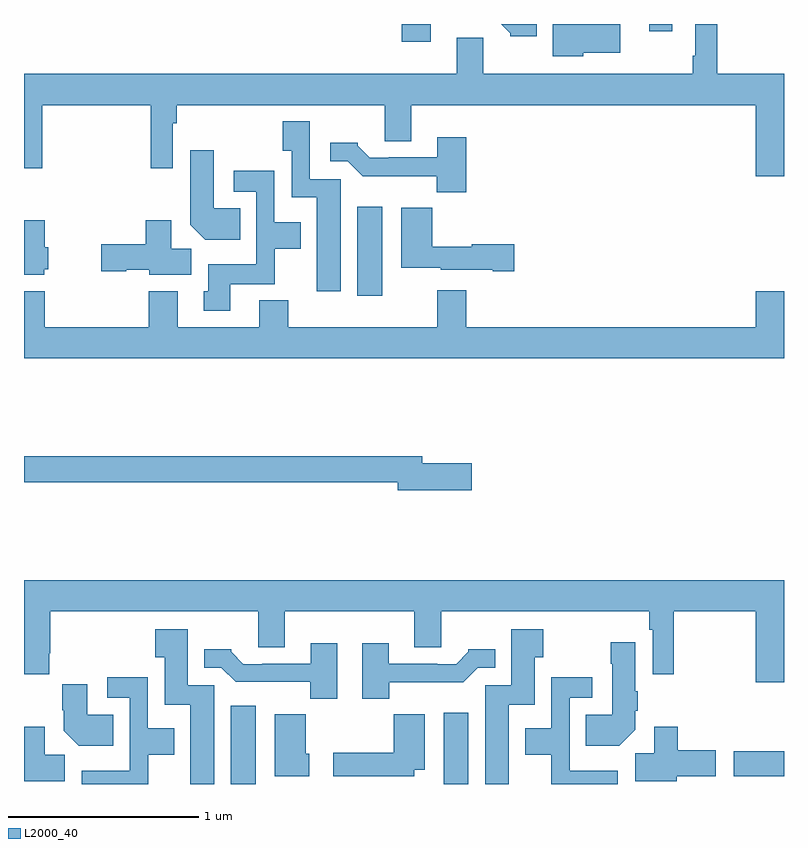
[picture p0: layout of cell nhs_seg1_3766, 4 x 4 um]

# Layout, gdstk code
import gdstk
lib = gdstk.Library(unit=1e-6, precision=1e-09)
def R(c, l, rs):  # rectangles x0, y0, x1, y1
    for r in rs: c.add(gdstk.rectangle(r[:2], r[2:], *l))
def P(c, l, *ps):  # polygons
    for p in ps: c.add(gdstk.Polygon(p, *l))
L2000_40 = (2000, 40)

nhs_seg1_3766 = lib.new_cell('nhs_seg1_3766')
R(nhs_seg1_3766, L2000_40, [(318.089,508.199,318.22,508.612), (319.208,508.199,319.339,508.573), (320.736,508.241,321,508.371), (318.755,510.768,318.886,511.237), (318.989,512.106,319.141,512.199), (320.291,512.16,320.413,512.199)])
P(nhs_seg1_3766, L2000_40, [(319.944,512.048),(320.137,512.048),(320.137,512.199),(319.784,512.199),(319.784,512.03),(319.944,512.03)],
  [(321,511.936),(320.648,511.936),(320.648,512.199),(320.532,512.199),(320.532,512.032),(320.52,512.032),(320.52,511.936),(319.417,511.936),(319.417,512.126),(319.277,512.126),(319.277,511.936),(317,511.936),(317,511.44),(317.096,511.44),(317.096,511.772),(317.668,511.772),(317.668,511.44),(317.784,511.44),(317.784,511.676),(317.804,511.676),(317.804,511.772),(318.899,511.772),(318.899,511.582),(319.039,511.582),(319.039,511.772),(320.852,511.772),(320.852,511.398),(321,511.398)],
  [(319.699,512.199),(319.511,512.199),(319.56,512.15),(319.56,512.135),(319.699,512.135)],
  [(318.667,511.383),(318.504,511.383),(318.504,511.687),(318.361,511.687),(318.361,511.531),(318.408,511.531),(318.408,511.286),(318.542,511.286),(318.542,510.792),(318.667,510.792)],
  [(319.328,511.603),(319.175,511.603),(319.175,511.497),(318.919,511.497),(318.919,511.494),(318.82,511.494),(318.756,511.558),(318.756,511.573),(318.612,511.573),(318.612,511.476),(318.705,511.476),(318.784,511.398),(319.173,511.398),(319.173,511.313),(319.328,511.313)],
  [(318.137,511.228),(317.998,511.228),(317.998,511.534),(317.876,511.534),(317.876,511.142),(317.954,511.064),(318.137,511.064)],
  [(318.085,510.83),(318.321,510.83),(318.321,511.016),(318.457,511.016),(318.457,511.156),(318.318,511.156),(318.318,511.426),(318.105,511.426),(318.105,511.317),(318.222,511.317),(318.222,510.934),(317.969,510.934),(317.969,510.792),(317.945,510.792),(317.945,510.69),(318.085,510.69)],
  [(319.579,511.04),(319.356,511.04),(319.356,511.027),(319.148,511.027),(319.148,511.231),(318.986,511.231),(318.986,510.917),(319.194,510.917),(319.194,510.905),(319.466,510.905),(319.466,510.898),(319.579,510.898)],
  [(317.106,510.909),(317.128,510.909),(317.128,511.023),(317.11,511.023),(317.11,511.165),(317,511.165),(317,510.878),(317.106,510.878)],
  [(317.881,511.016),(317.776,511.016),(317.776,511.165),(317.642,511.165),(317.642,511.04),(317.406,511.04),(317.406,510.898),(317.538,510.898),(317.538,510.905),(317.658,510.905),(317.658,510.878),(317.881,510.878)],
  [(317.657,510.793),(317.657,510.604),(317.108,510.604),(317.108,510.793),(317,510.793),(317,510.44),(321,510.44),(321,510.793),(320.852,510.793),(320.852,510.604),(319.328,510.604),(319.328,510.799),(319.175,510.799),(319.175,510.604),(318.392,510.604),(318.392,510.745),(318.239,510.745),(318.239,510.604),(317.809,510.604),(317.809,510.793)],
  [(319.357,509.888),(319.096,509.888),(319.096,509.924),(317,509.924),(317,509.788),(318.968,509.788),(318.968,509.746),(319.357,509.746)],
  [(321,509.272),(317,509.272),(317,509.108),(317.002,509.108),(317.002,508.776),(317.134,508.776),(317.134,508.888),(317.138,508.888),(317.138,509.108),(318.233,509.108),(318.233,508.918),(318.373,508.918),(318.373,509.108),(319.055,509.108),(319.055,508.918),(319.195,508.918),(319.195,509.108),(320.29,509.108),(320.29,509.012),(320.31,509.012),(320.31,508.776),(320.419,508.776),(320.419,509.108),(320.852,509.108),(320.852,508.734),(321,508.734)],
  [(319.552,508.616),(319.687,508.616),(319.687,508.867),(319.734,508.867),(319.734,509.014),(319.565,509.014),(319.565,508.719),(319.427,508.719),(319.427,508.199),(319.552,508.199)],
  [(318.001,508.719),(317.863,508.719),(317.863,509.014),(317.69,509.014),(317.69,508.867),(317.741,508.867),(317.741,508.616),(317.876,508.616),(317.876,508.199),(318.001,508.199)],
  [(320.218,508.484),(320.218,508.585),(320.231,508.585),(320.231,508.688),(320.218,508.688),(320.218,508.945),(320.089,508.945),(320.089,508.832),(320.096,508.832),(320.096,508.564),(319.957,508.564),(319.957,508.4),(320.134,508.4)],
  [(318.649,508.939),(318.509,508.939),(318.509,508.833),(318.253,508.833),(318.253,508.83),(318.154,508.83),(318.09,508.894),(318.09,508.909),(317.948,508.909),(317.948,508.812),(318.039,508.812),(318.115,508.736),(318.507,508.736),(318.507,508.649),(318.649,508.649)],
  [(318.922,508.734),(319.311,508.734),(319.389,508.812),(319.48,508.812),(319.48,508.909),(319.338,508.909),(319.338,508.894),(319.274,508.83),(319.175,508.83),(319.175,508.833),(318.919,508.833),(318.919,508.939),(318.779,508.939),(318.779,508.649),(318.922,508.649)],
  [(317.655,508.352),(317.791,508.352),(317.791,508.492),(317.652,508.492),(317.652,508.762),(317.439,508.762),(317.439,508.653),(317.556,508.653),(317.556,508.27),(317.303,508.27),(317.303,508.199),(317.655,508.199)],
  [(320.125,508.27),(319.872,508.27),(319.872,508.653),(319.99,508.653),(319.99,508.762),(319.776,508.762),(319.776,508.492),(319.637,508.492),(319.637,508.352),(319.774,508.352),(319.774,508.199),(320.125,508.199)],
  [(317.471,508.564),(317.332,508.564),(317.332,508.723),(317.201,508.723),(317.201,508.588),(317.21,508.588),(317.21,508.478),(317.288,508.4),(317.471,508.4)],
  [(318.502,508.359),(318.482,508.359),(318.482,508.567),(318.32,508.567),(318.32,508.241),(318.502,508.241)],
  [(319.053,508.274),(319.108,508.274),(319.108,508.567),(318.946,508.567),(318.946,508.363),(318.627,508.363),(318.627,508.241),(319.053,508.241)],
  [(317.215,508.352),(317.11,508.352),(317.11,508.501),(317,508.501),(317,508.214),(317.215,508.214)],
  [(320.436,508.241),(320.641,508.241),(320.641,508.376),(320.44,508.376),(320.44,508.501),(320.318,508.501),(320.318,508.361),(320.216,508.361),(320.216,508.214),(320.436,508.214)])

lib.write_gds('nhs_seg1_3766.gds')
